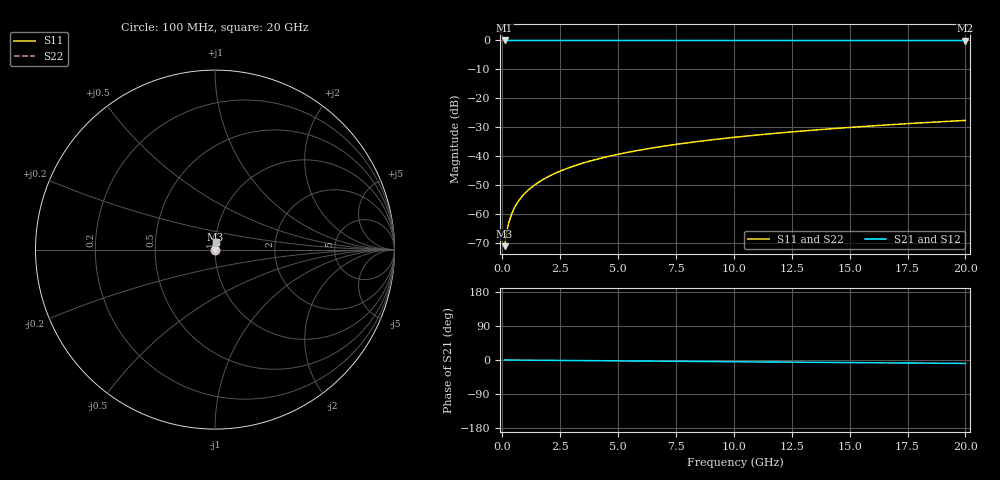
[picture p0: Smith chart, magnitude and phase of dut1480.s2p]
! Touchstone file exported from HFSS 2026.1.0
!  File:  C:/ffzhzh/LocalFiles/Ansys_Project_Files/temp_train_TSV_1480_1783198550_18472.aedt
!  Generated:  04:57:24 AM Jul  5, 2026
!  Design:  TSV
!  Project:  temp_train_TSV_1480_1783198550_18472
! Variables:
!  h_bsmrdl = 2um
!  h_ox = 20um
!  h_rdl = 5um
!  h_sub = 83.88um
!  h_tmrdl = 5um
!  h_tsv = 83.88um
!  h_via = 3um
!  l_bsmrdl = 300um
!  l_sub = 420.36um
!  l_tmrdl = 200um
!  m_sub = 200um
!  pitch = 56.8um
!  r_tsv = 10.18um
!  s_tmrdl = 10um
!  w_bsmrdl = 18um
!  w_sub = 500um
!  w_tmrdl = 12um
!  x_tsv_center1 = 206um
!  x_tsv_center2 = 524um
!  x_tsv_center3 = 736um
!  x_tsv_center4 = 1054um
!  x_tsv_center5 = 1266um
!  x_tsv_center6 = 1584um
# GHz S MA R 50.000000
! Terminal data exported
! Port[1] = TSV1_1_T1
! Port[2] = TSV1_1_T2
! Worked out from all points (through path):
!   200 points, 100 MHz to 20 GHz, reference 50 ohm
!   highest |S21| = 0.00 dB at 100 MHz (marker M1); lowest = 0.0 dB at 20 GHz (marker M2)
!   group delay of S21, straight-line fit = 1.25 ps
!   lowest |S11| = -71.0 dB at 100 MHz (marker M3), VSWR 1.00, Z = 50 + j0.0251 ohm
!   |S11| at or under -10 dB: start of sweep to end of sweep
!   |S22| runs from -71.0 to -27.6 dB; largest |S21 - S12| = 2.3e-15
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0.1  0.0002804 63.4  0.9999 -0.0  0.9999 -0.0  0.0002804 63.4
! Gamma 0 0 0 0
! Port Impedance 50 0 50 0
0.2  0.0005177 74.7  0.9999 -0.1  0.9999 -0.1  0.0005177 74.7
0.3  0.0007592 78.3  0.9998 -0.1  0.9998 -0.1  0.0007592 78.3
0.4  0.0009979 79.8  0.9998 -0.2  0.9998 -0.2  0.0009979 79.8
0.5  0.001232 80.6  0.9998 -0.2  0.9998 -0.2  0.001232 80.6
0.6  0.001461 81.1  0.9998 -0.3  0.9998 -0.3  0.001461 81.1
0.7  0.001687 81.5  0.9998 -0.3  0.9998 -0.3  0.001687 81.5
0.9  0.002128 82.0  0.9997 -0.4  0.9997 -0.4  0.002128 82.0
1.1  0.002561 82.5  0.9997 -0.5  0.9997 -0.5  0.002561 82.5
1.3  0.00299 82.8  0.9997 -0.6  0.9997 -0.6  0.00299 82.8
1.6  0.00363 83.3  0.9996 -0.7  0.9996 -0.7  0.00363 83.3
1.9  0.004268 83.7  0.9996 -0.9  0.9996 -0.9  0.004268 83.7
2.6  0.005756 84.2  0.9995 -1.2  0.9995 -1.2  0.005756 84.2
3.5  0.007665 84.4  0.9994 -1.6  0.9994 -1.6  0.007665 84.4
4.2  0.009143 84.5  0.9994 -1.9  0.9994 -1.9  0.009143 84.5
5  0.01083 84.4  0.9993 -2.3  0.9993 -2.3  0.01083 84.4
6.8  0.01459 84.0  0.9992 -3.1  0.9992 -3.1  0.01459 84.0
8.3  0.0177 83.6  0.999 -3.8  0.999 -3.8  0.0177 83.6
10.1  0.02143 83.0  0.9989 -4.6  0.9989 -4.6  0.02143 83.0
13.4  0.02822 81.8  0.9986 -6.1  0.9986 -6.1  0.02822 81.8
16.7  0.03496 80.5  0.9982 -7.6  0.9982 -7.6  0.03496 80.5
20  0.04163 79.2  0.9979 -9.1  0.9979 -9.1  0.04163 79.2
